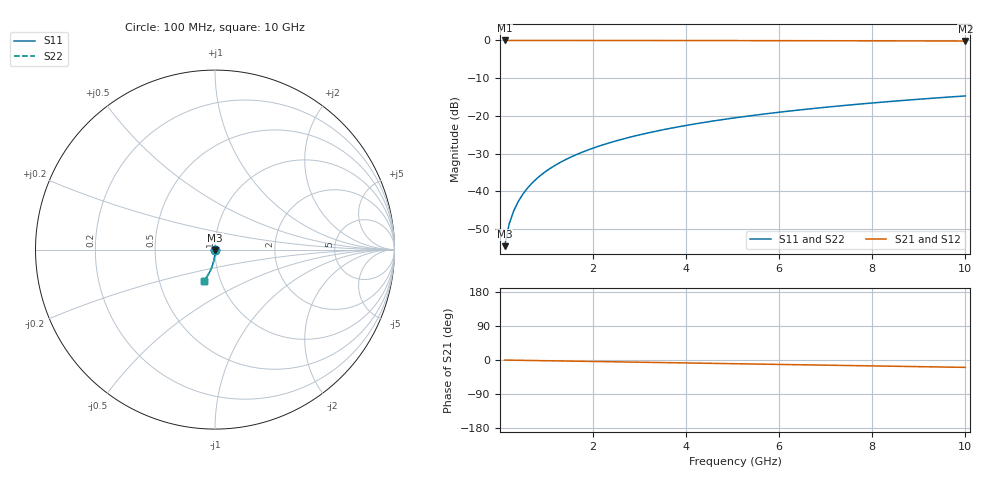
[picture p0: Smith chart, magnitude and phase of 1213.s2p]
# Hz S RI R 50.00
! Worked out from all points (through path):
!   100 points, 100 MHz to 10 GHz, reference 50 ohm
!   highest |S21| = 0.00 dB at 100 MHz (marker M1); lowest = -0.2 dB at 10 GHz (marker M2)
!   group delay of S21, straight-line fit = 5.41 ps
!   lowest |S11| = -54.5 dB at 100 MHz (marker M3), VSWR 1.00, Z = 50 - j0.187 ohm
!   |S11| at or under -10 dB: start of sweep to end of sweep
!   |S22| runs from -54.5 to -14.7 dB; largest |S21 - S12| = 0
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1e8  0.000227 -0.00187  0.9998 -0.00339  0.9998 -0.00339  0.000227 -0.00187
2e8  0.000208 -0.00374  0.9997 -0.00678  0.9997 -0.00678  0.000208 -0.00374
3e8  0.000174 -0.00562  0.9997 -0.0102  0.9997 -0.0102  0.000174 -0.00562
4e8  0.000128 -0.00749  0.9996 -0.0136  0.9996 -0.0136  0.000128 -0.00749
5e8  6.97e-05 -0.00936  0.9996 -0.0169  0.9996 -0.0169  6.97e-05 -0.00936
6e8  -1.9e-06 -0.0112  0.9995 -0.0203  0.9995 -0.0203  -1.9e-06 -0.0112
7e8  -8.63e-05 -0.0131  0.9994 -0.0237  0.9994 -0.0237  -8.63e-05 -0.0131
8e8  -0.000183 -0.015  0.9993 -0.0271  0.9993 -0.0271  -0.000183 -0.015
9e8  -0.000293 -0.0168  0.9991 -0.0305  0.9991 -0.0305  -0.000293 -0.0168
1.1e9  -0.000551 -0.0206  0.9988 -0.0373  0.9988 -0.0373  -0.000551 -0.0206
1.4e9  -0.00103 -0.0262  0.9982 -0.0474  0.9982 -0.0474  -0.00103 -0.0262
1.8e9  -0.00186 -0.0337  0.9973 -0.061  0.9973 -0.061  -0.00186 -0.0337
2.1e9  -0.0026 -0.0392  0.9964 -0.0711  0.9964 -0.0711  -0.0026 -0.0392
2.5e9  -0.00378 -0.0467  0.995 -0.0846  0.995 -0.0846  -0.00378 -0.0467
2.9e9  -0.00516 -0.0541  0.9934 -0.0981  0.9934 -0.0981  -0.00516 -0.0541
3.4e9  -0.00717 -0.0633  0.991 -0.1149  0.991 -0.1149  -0.00717 -0.0633
4.2e9  -0.011 -0.0779  0.9864 -0.1417  0.9864 -0.1417  -0.011 -0.0779
5.1e9  -0.0163 -0.094  0.9801 -0.1717  0.9801 -0.1717  -0.0163 -0.094
5.9e9  -0.0219 -0.108  0.9736 -0.198  0.9736 -0.198  -0.0219 -0.108
6.7e9  -0.0281 -0.1217  0.9661 -0.2241  0.9661 -0.2241  -0.0281 -0.1217
8.4e9  -0.0438 -0.1495  0.9473 -0.2782  0.9473 -0.2782  -0.0438 -0.1495
1e10  -0.0614 -0.1736  0.9262 -0.3275  0.9262 -0.3275  -0.0614 -0.1736
